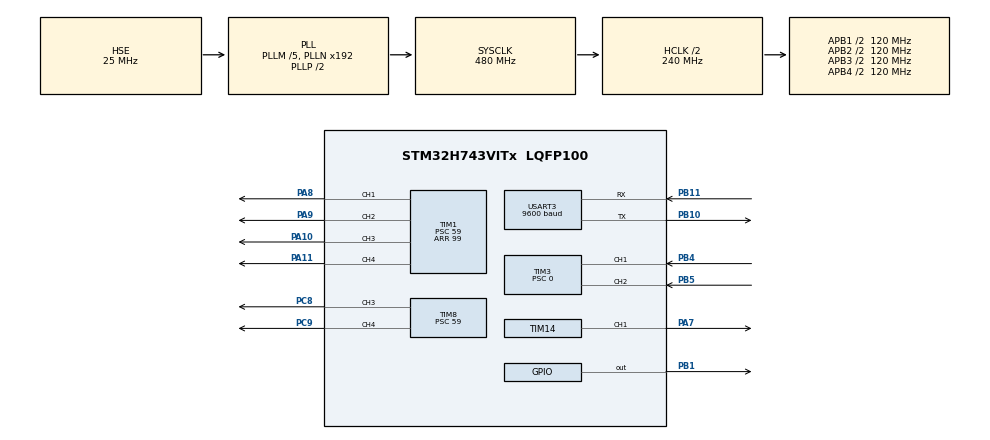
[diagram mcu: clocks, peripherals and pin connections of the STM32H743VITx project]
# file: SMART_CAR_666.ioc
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CORTEX_M7.default_mode_Activation=1
Dma.Request0=USART3_TX
Dma.USART3_TX.0.Direction=DMA_MEMORY_TO_PERIPH
Dma.USART3_TX.0.EventEnable=DISABLE
Dma.USART3_TX.0.FIFOMode=DMA_FIFOMODE_DISABLE
Dma.USART3_TX.0.Instance=DMA1_Stream0
Dma.USART3_TX.0.MemDataAlignment=DMA_MDATAALIGN_BYTE
Dma.USART3_TX.0.MemInc=DMA_MINC_ENABLE
Dma.USART3_TX.0.Mode=DMA_NORMAL
Dma.USART3_TX.0.PeriphDataAlignment=DMA_PDATAALIGN_BYTE
Dma.USART3_TX.0.PeriphInc=DMA_PINC_DISABLE
Dma.USART3_TX.0.Polarity=HAL_DMAMUX_REQ_GEN_RISING
Dma.USART3_TX.0.Priority=DMA_PRIORITY_LOW
Dma.USART3_TX.0.RequestNumber=1
Dma.USART3_TX.0.SignalID=NONE
Dma.USART3_TX.0.SyncEnable=DISABLE
Dma.USART3_TX.0.SyncPolarity=HAL_DMAMUX_SYNC_NO_EVENT
Dma.USART3_TX.0.SyncRequestNumber=1
Dma.USART3_TX.0.SyncSignalID=NONE
Mcu.Family=STM32H7
Mcu.Name=STM32H743VITx
Mcu.Package=LQFP100
NVIC.DMA1_Stream0_IRQn=true\:0\:0\:false\:false\:true\:false\:true\:true
NVIC.PriorityGroup=NVIC_PRIORITYGROUP_4
NVIC.USART3_IRQn=true\:0\:0\:false\:false\:true\:false\:true\:true
PA10.Signal=S_TIM1_CH3
PA11.Signal=S_TIM1_CH4
PA13\ (JTMS/SWDIO).Mode=Serial_Wire
PA13\ (JTMS/SWDIO).Signal=DEBUG_JTMS-SWDIO
PA14\ (JTCK/SWCLK).Mode=Serial_Wire
PA14\ (JTCK/SWCLK).Signal=DEBUG_JTCK-SWCLK
PA7.Signal=S_TIM14_CH1
PA8.Signal=S_TIM1_CH1
PA9.Signal=S_TIM1_CH2
PB1.Signal=GPIO_Output
PB10.Mode=Asynchronous
PB10.Signal=USART3_TX
PB11.Mode=Asynchronous
PB11.Signal=USART3_RX
PB4\ (NJTRST).GPIO_PuPd=GPIO_PULLUP
PB4\ (NJTRST).Signal=S_TIM3_CH1
PB5.GPIO_PuPd=GPIO_PULLUP
PB5.Signal=S_TIM3_CH2
PC8.Signal=S_TIM8_CH3
PC9.Signal=S_TIM8_CH4
PH0-OSC_IN\ (PH0).Mode=HSE-External-Oscillator
PH0-OSC_IN\ (PH0).Signal=RCC_OSC_IN
PH1-OSC_OUT\ (PH1).Mode=HSE-External-Oscillator
PH1-OSC_OUT\ (PH1).Signal=RCC_OSC_OUT
ProjectManager.HeapSize=0x200
ProjectManager.StackSize=0x400
ProjectManager.TargetToolchain=CMake
RCC.ADCFreq_Value=50390625
RCC.APB1Freq_Value=120000000
RCC.APB2Freq_Value=120000000
RCC.APB3Freq_Value=120000000
RCC.APB4Freq_Value=120000000
RCC.CortexFreq_Value=480000000
RCC.D1PPRE=RCC_APB3_DIV2
RCC.D2PPRE1=RCC_APB1_DIV2
RCC.D2PPRE2=RCC_APB2_DIV2
RCC.D3PPRE=RCC_APB4_DIV2
RCC.DIVM1=5
RCC.DIVN1=192
RCC.HCLKFreq_Value=240000000
RCC.HPRE=RCC_HCLK_DIV2
RCC.HSE_VALUE=25000000
RCC.PLLSourceVirtual=RCC_PLLSOURCE_HSE
RCC.PWR_Regulator_Voltage_Scale=PWR_REGULATOR_VOLTAGE_SCALE0
RCC.SYSCLKFreq_VALUE=480000000
RCC.SYSCLKSource=RCC_SYSCLKSOURCE_PLLCLK
RCC.USBFreq_Value=480000000
SH.S_TIM14_CH1.0=TIM14_CH1,PWM Generation1 CH1
SH.S_TIM1_CH1.0=TIM1_CH1,PWM Generation1 CH1
SH.S_TIM1_CH2.0=TIM1_CH2,PWM Generation2 CH2
SH.S_TIM1_CH3.0=TIM1_CH3,PWM Generation3 CH3
SH.S_TIM1_CH4.0=TIM1_CH4,PWM Generation4 CH4
SH.S_TIM3_CH1.0=TIM3_CH1,Encoder_Interface
SH.S_TIM3_CH2.0=TIM3_CH2,Encoder_Interface
SH.S_TIM8_CH3.0=TIM8_CH3,PWM Generation3 CH3
SH.S_TIM8_CH4.0=TIM8_CH4,PWM Generation4 CH4
TIM1.Channel-PWM\ Generation1\ CH1=TIM_CHANNEL_1
TIM1.Channel-PWM\ Generation2\ CH2=TIM_CHANNEL_2
TIM1.Channel-PWM\ Generation3\ CH3=TIM_CHANNEL_3
TIM1.Channel-PWM\ Generation4\ CH4=TIM_CHANNEL_4
TIM1.Period=99
TIM1.Prescaler=59
TIM14.Channel=TIM_CHANNEL_1
TIM14.Period=99
TIM14.Prescaler=59
TIM3.Period=65535
TIM3.Prescaler=0
TIM8.Channel-PWM\ Generation3\ CH3=TIM_CHANNEL_3
TIM8.Channel-PWM\ Generation4\ CH4=TIM_CHANNEL_4
TIM8.Period=99
TIM8.Prescaler=59
USART3.BaudRate=9600
USART3.VirtualMode-Asynchronous=VM_ASYNC
VP_MEMORYMAP_VS_MEMORYMAP.Mode=CurAppReg
VP_TIM14_VS_ClockSourceINT.Mode=Enable_Timer
VP_TIM8_VS_ClockSourceINT.Mode=Internal
board=custom

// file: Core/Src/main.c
/* USER CODE BEGIN Header */
/**
  ******************************************************************************
  * @file           : main.c
  * @brief          : Main program body
  ******************************************************************************
  * @attention
  *
  * Copyright (c) 2026 STMicroelectronics.
  * All rights reserved.
  *
  * This software is licensed under terms that can be found in the LICENSE file
  * in the root directory of this software component.
  * If no LICENSE file comes with this software, it is provided AS-IS.
  *
  ******************************************************************************
  */
/* USER CODE END Header */
#include "main.h"

/* USER CODE BEGIN Includes */
#include "Motor.h"
#include "Encoder.h"
#include "Serial.h"
/* USER CODE END Includes */

/* USER CODE BEGIN PD */
#define APP_CONTROL_PERIOD_MS       UINT32_C(20)          //主循环每隔约20 ms读取编码器并更新电机PWM
#define APP_TELEMETRY_PERIOD_MS     UINT32_C(200)         //每隔约200 ms通过串口发送一行运行数据
#define APP_START_DELAY_MS          UINT32_C(300)         //从应用开始计时后，至少等待300 ms才允许输出设定的PWM
/* 每转计数未知时传0，只报告计数/s，避免将猜测参数用于转速或闭环。 */
#define APP_ENCODER_COUNTS_PER_REV  0.0f

#define APP_FAULT_NONE              UINT32_C(0)
#define APP_FAULT_ENCODER           UINT32_C(1)
#define APP_FAULT_PWM               UINT32_C(2)
/* USER CODE END PD */

TIM_HandleTypeDef htim1;
TIM_HandleTypeDef htim3;
TIM_HandleTypeDef htim8;
TIM_HandleTypeDef htim14;

UART_HandleTypeDef huart3;
DMA_HandleTypeDef hdma_usart3_tx;

/* USER CODE BEGIN PV */
/* 前三路范围-99~99；第四路只正向，范围0~99。当前四路均给正命令。 */
// [WARNING]: 启动300ms后四路输出以下PWM；百分比不代表实测转速。
volatile int32_t g_motor1_command_percent = -20; /* TIM8：PC8 / PC9 *///后正
volatile int32_t g_motor2_command_percent = 0; /* TIM1：PA10 / PA11 *///前
volatile int32_t g_motor3_command_percent = -20; /* TIM1：PA8 / PA9 *///前
volatile int32_t g_motor4_command_percent = 20; /* TIM14：PA7，PB1固定低 *///后正
volatile uint32_t g_motor1_applied_percent = 0U;
volatile uint32_t g_motor2_applied_percent = 0U;
volatile uint32_t g_motor3_applied_percent = 0U;
volatile uint32_t g_motor4_applied_percent = 0U;
volatile float g_encoder_counts_per_second = 0.0f;
volatile int32_t g_encoder_delta_counts = 0;
volatile uint32_t g_app_fault = APP_FAULT_NONE;
volatile HAL_StatusTypeDef g_serial_last_status = HAL_OK;

static uint32_t app_start_tick;
static uint32_t last_control_tick;
static uint32_t last_telemetry_tick;
static uint8_t motor_initialized;
/* USER CODE END PV */

void SystemClock_Config(void);
static void MPU_Config(void);
static void MX_GPIO_Init(void);
static void MX_DMA_Init(void);
static void MX_TIM8_Init(void);
static void MX_USART3_UART_Init(void);
static void MX_TIM3_Init(void);
static void MX_TIM1_Init(void);
static void MX_TIM14_Init(void);

int main(void)
{

  /* MPU Configuration--------------------------------------------------------*/
  MPU_Config();

  /* MCU Configuration--------------------------------------------------------*/

  /* Reset of all peripherals, Initializes the Flash interface and the Systick. */
  HAL_Init();

  /* Configure the system clock */
  SystemClock_Config();

  /* Initialize all configured peripherals */
  MX_GPIO_Init();
  MX_DMA_Init();
  MX_TIM8_Init();
  MX_USART3_UART_Init();
  MX_TIM3_Init();
  MX_TIM1_Init();
  MX_TIM14_Init();
  /* USER CODE BEGIN 2 */
  /* CubeMX完成配置，这里只启动PWM、编码器和串口接收。 */
  if (Motor_Init() != HAL_OK)
  {
    g_app_fault = APP_FAULT_PWM;
    Error_Handler();
  }
  motor_initialized = 1U;

  if (Encoder_Init(APP_ENCODER_COUNTS_PER_REV) != HAL_OK)
  {
    g_app_fault = APP_FAULT_ENCODER;
    Error_Handler();
  }
  if (Serial_Init() != HAL_OK)
  {
    Error_Handler();
  }

  app_start_tick = HAL_GetTick();
  last_control_tick = app_start_tick;
  last_telemetry_tick = app_start_tick;
  /* 串口发送失败只记录状态，不阻止电机运行。 */
  g_serial_last_status =
      Serial_SendString("cmd1_pct,duty1_pct,cmd2_pct,duty2_pct,cmd3_pct,duty3_pct,cmd4_pct,duty4_pct,cps,delta,fault\r\n") != 0U
      ? HAL_OK : Serial_GetLastStatus();

  /* USER CODE END 2 */

  /* Infinite loop */
  while (1)
  {

    /* USER CODE BEGIN 3 */
    uint32_t now_tick;
    HAL_StatusTypeDef encoder_status;

    Serial_Proc();
    g_serial_last_status = Serial_GetLastStatus();
    now_tick = HAL_GetTick();

    if ((uint32_t)(now_tick - last_control_tick) >= APP_CONTROL_PERIOD_MS)
    {
      last_control_tick = now_tick;
      /* 20ms只用于调度，不再因单次间隔超过100ms锁定停机。 */
      encoder_status = Encoder_Update();
      if ((encoder_status != HAL_OK) && (encoder_status != HAL_BUSY))
      {
        g_app_fault = APP_FAULT_ENCODER;
        Error_Handler();
      }
      g_encoder_counts_per_second = Encoder_GetCountsPerSecond_L();
      g_encoder_delta_counts = Encoder_GetDelta_L();

      if ((uint32_t)(now_tick - app_start_tick) >= APP_START_DELAY_MS)
      {
        if (Load(g_motor1_command_percent, g_motor2_command_percent,
                 g_motor3_command_percent, g_motor4_command_percent) != HAL_OK)
        {
          g_app_fault = APP_FAULT_PWM;
          Error_Handler();
        }
      }
      g_motor1_applied_percent = Motor_GetDuty1Percent();
      g_motor2_applied_percent = Motor_GetDuty2Percent();
      g_motor3_applied_percent = Motor_GetDuty3Percent();
      g_motor4_applied_percent = Motor_GetDuty4Percent();
    }

    if ((uint32_t)(now_tick - last_telemetry_tick) >= APP_TELEMETRY_PERIOD_MS)
    {
      last_telemetry_tick = now_tick;
      g_serial_last_status =
          Serial_Printf("%ld,%lu,%ld,%lu,%ld,%lu,%ld,%lu,%ld,%ld,%lu\r\n",
                        (long)g_motor1_command_percent,
                        (unsigned long)g_motor1_applied_percent,
                        (long)g_motor2_command_percent,
                        (unsigned long)g_motor2_applied_percent,
                        (long)g_motor3_command_percent,
                        (unsigned long)g_motor3_applied_percent,
                        (long)g_motor4_command_percent,
                        (unsigned long)g_motor4_applied_percent,
                        (long)g_encoder_counts_per_second,
                        (long)g_encoder_delta_counts,
                        (unsigned long)g_app_fault) != 0U
          ? HAL_OK : Serial_GetLastStatus();
    }
  }
  /* USER CODE END 3 */
}

void SystemClock_Config(void)
{
  RCC_OscInitTypeDef RCC_OscInitStruct = {0};
  RCC_ClkInitTypeDef RCC_ClkInitStruct = {0};

  /** Supply configuration update enable
  */
  HAL_PWREx_ConfigSupply(PWR_LDO_SUPPLY);

  /** Configure the main internal regulator output voltage
  */
  __HAL_PWR_VOLTAGESCALING_CONFIG(PWR_REGULATOR_VOLTAGE_SCALE0);

  while(!__HAL_PWR_GET_FLAG(PWR_FLAG_VOSRDY)) {}

  /** Initializes the RCC Oscillators according to the specified parameters
  * in the RCC_OscInitTypeDef structure.
  */
  RCC_OscInitStruct.OscillatorType = RCC_OSCILLATORTYPE_HSE;
  RCC_OscInitStruct.HSEState = RCC_HSE_ON;
  RCC_OscInitStruct.PLL.PLLState = RCC_PLL_ON;
  RCC_OscInitStruct.PLL.PLLSource = RCC_PLLSOURCE_HSE;
  RCC_OscInitStruct.PLL.PLLM = 5;
  RCC_OscInitStruct.PLL.PLLN = 192;
  RCC_OscInitStruct.PLL.PLLP = 2;
  RCC_OscInitStruct.PLL.PLLQ = 2;
  RCC_OscInitStruct.PLL.PLLR = 2;
  RCC_OscInitStruct.PLL.PLLRGE = RCC_PLL1VCIRANGE_2;
  RCC_OscInitStruct.PLL.PLLVCOSEL = RCC_PLL1VCOWIDE;
  RCC_OscInitStruct.PLL.PLLFRACN = 0;
  if (HAL_RCC_OscConfig(&RCC_OscInitStruct) != HAL_OK)
  {
    Error_Handler();
  }

  /** Initializes the CPU, AHB and APB buses clocks
  */
  RCC_ClkInitStruct.ClockType = RCC_CLOCKTYPE_HCLK|RCC_CLOCKTYPE_SYSCLK
                              |RCC_CLOCKTYPE_PCLK1|RCC_CLOCKTYPE_PCLK2
                              |RCC_CLOCKTYPE_D3PCLK1|RCC_CLOCKTYPE_D1PCLK1;
  RCC_ClkInitStruct.SYSCLKSource = RCC_SYSCLKSOURCE_PLLCLK;
  RCC_ClkInitStruct.SYSCLKDivider = RCC_SYSCLK_DIV1;
  RCC_ClkInitStruct.AHBCLKDivider = RCC_HCLK_DIV2;
  RCC_ClkInitStruct.APB3CLKDivider = RCC_APB3_DIV2;
  RCC_ClkInitStruct.APB1CLKDivider = RCC_APB1_DIV2;
  RCC_ClkInitStruct.APB2CLKDivider = RCC_APB2_DIV2;
  RCC_ClkInitStruct.APB4CLKDivider = RCC_APB4_DIV2;

  if (HAL_RCC_ClockConfig(&RCC_ClkInitStruct, FLASH_LATENCY_4) != HAL_OK)
  {
    Error_Handler();
  }
}

static void MX_TIM1_Init(void)
{

  TIM_MasterConfigTypeDef sMasterConfig = {0};
  TIM_OC_InitTypeDef sConfigOC = {0};
  TIM_BreakDeadTimeConfigTypeDef sBreakDeadTimeConfig = {0};

  htim1.Instance = TIM1;
  htim1.Init.Prescaler = 59;
  htim1.Init.CounterMode = TIM_COUNTERMODE_UP;
  htim1.Init.Period = 99;
  htim1.Init.ClockDivision = TIM_CLOCKDIVISION_DIV1;
  htim1.Init.RepetitionCounter = 0;
  htim1.Init.AutoReloadPreload = TIM_AUTORELOAD_PRELOAD_DISABLE;
  if (HAL_TIM_PWM_Init(&htim1) != HAL_OK)
  {
    Error_Handler();
  }
  sMasterConfig.MasterOutputTrigger = TIM_TRGO_RESET;
  sMasterConfig.MasterOutputTrigger2 = TIM_TRGO2_RESET;
  sMasterConfig.MasterSlaveMode = TIM_MASTERSLAVEMODE_DISABLE;
  if (HAL_TIMEx_MasterConfigSynchronization(&htim1, &sMasterConfig) != HAL_OK)
  {
    Error_Handler();
  }
  sConfigOC.OCMode = TIM_OCMODE_PWM1;
  sConfigOC.Pulse = 0;
  sConfigOC.OCPolarity = TIM_OCPOLARITY_HIGH;
  sConfigOC.OCNPolarity = TIM_OCNPOLARITY_HIGH;
  sConfigOC.OCFastMode = TIM_OCFAST_DISABLE;
  sConfigOC.OCIdleState = TIM_OCIDLESTATE_RESET;
  sConfigOC.OCNIdleState = TIM_OCNIDLESTATE_RESET;
  if (HAL_TIM_PWM_ConfigChannel(&htim1, &sConfigOC, TIM_CHANNEL_1) != HAL_OK)
  {
    Error_Handler();
  }
  if (HAL_TIM_PWM_ConfigChannel(&htim1, &sConfigOC, TIM_CHANNEL_2) != HAL_OK)
  {
    Error_Handler();
  }
  if (HAL_TIM_PWM_ConfigChannel(&htim1, &sConfigOC, TIM_CHANNEL_3) != HAL_OK)
  {
    Error_Handler();
  }
  if (HAL_TIM_PWM_ConfigChannel(&htim1, &sConfigOC, TIM_CHANNEL_4) != HAL_OK)
  {
    Error_Handler();
  }
  sBreakDeadTimeConfig.OffStateRunMode = TIM_OSSR_DISABLE;
  sBreakDeadTimeConfig.OffStateIDLEMode = TIM_OSSI_DISABLE;
  sBreakDeadTimeConfig.LockLevel = TIM_LOCKLEVEL_OFF;
  sBreakDeadTimeConfig.DeadTime = 0;
  sBreakDeadTimeConfig.BreakState = TIM_BREAK_DISABLE;
  sBreakDeadTimeConfig.BreakPolarity = TIM_BREAKPOLARITY_HIGH;
  sBreakDeadTimeConfig.BreakFilter = 0;
  sBreakDeadTimeConfig.Break2State = TIM_BREAK2_DISABLE;
  sBreakDeadTimeConfig.Break2Polarity = TIM_BREAK2POLARITY_HIGH;
  sBreakDeadTimeConfig.Break2Filter = 0;
  sBreakDeadTimeConfig.AutomaticOutput = TIM_AUTOMATICOUTPUT_DISABLE;
  if (HAL_TIMEx_ConfigBreakDeadTime(&htim1, &sBreakDeadTimeConfig) != HAL_OK)
  {
    Error_Handler();
  }
  HAL_TIM_MspPostInit(&htim1);

}

static void MX_TIM3_Init(void)
{

  TIM_Encoder_InitTypeDef sConfig = {0};
  TIM_MasterConfigTypeDef sMasterConfig = {0};

  htim3.Instance = TIM3;
  htim3.Init.Prescaler = 0;
  htim3.Init.CounterMode = TIM_COUNTERMODE_UP;
  htim3.Init.Period = 65535;
  htim3.Init.ClockDivision = TIM_CLOCKDIVISION_DIV1;
  htim3.Init.AutoReloadPreload = TIM_AUTORELOAD_PRELOAD_DISABLE;
  sConfig.EncoderMode = TIM_ENCODERMODE_TI1;
  sConfig.IC1Polarity = TIM_ICPOLARITY_RISING;
  sConfig.IC1Selection = TIM_ICSELECTION_DIRECTTI;
  sConfig.IC1Prescaler = TIM_ICPSC_DIV1;
  sConfig.IC1Filter = 0;
  sConfig.IC2Polarity = TIM_ICPOLARITY_RISING;
  sConfig.IC2Selection = TIM_ICSELECTION_DIRECTTI;
  sConfig.IC2Prescaler = TIM_ICPSC_DIV1;
  sConfig.IC2Filter = 0;
  if (HAL_TIM_Encoder_Init(&htim3, &sConfig) != HAL_OK)
  {
    Error_Handler();
  }
  sMasterConfig.MasterOutputTrigger = TIM_TRGO_RESET;
  sMasterConfig.MasterSlaveMode = TIM_MASTERSLAVEMODE_DISABLE;
  if (HAL_TIMEx_MasterConfigSynchronization(&htim3, &sMasterConfig) != HAL_OK)
  {
    Error_Handler();
  }

}

static void MX_TIM8_Init(void)
{

  TIM_ClockConfigTypeDef sClockSourceConfig = {0};
  TIM_MasterConfigTypeDef sMasterConfig = {0};
  TIM_OC_InitTypeDef sConfigOC = {0};
  TIM_BreakDeadTimeConfigTypeDef sBreakDeadTimeConfig = {0};

  htim8.Instance = TIM8;
  htim8.Init.Prescaler = 59;
  htim8.Init.CounterMode = TIM_COUNTERMODE_UP;
  htim8.Init.Period = 99;
  htim8.Init.ClockDivision = TIM_CLOCKDIVISION_DIV1;
  htim8.Init.RepetitionCounter = 0;
  htim8.Init.AutoReloadPreload = TIM_AUTORELOAD_PRELOAD_DISABLE;
  if (HAL_TIM_Base_Init(&htim8) != HAL_OK)
  {
    Error_Handler();
  }
  sClockSourceConfig.ClockSource = TIM_CLOCKSOURCE_INTERNAL;
  if (HAL_TIM_ConfigClockSource(&htim8, &sClockSourceConfig) != HAL_OK)
  {
    Error_Handler();
  }
  if (HAL_TIM_PWM_Init(&htim8) != HAL_OK)
  {
    Error_Handler();
  }
  sMasterConfig.MasterOutputTrigger = TIM_TRGO_RESET;
  sMasterConfig.MasterOutputTrigger2 = TIM_TRGO2_RESET;
  sMasterConfig.MasterSlaveMode = TIM_MASTERSLAVEMODE_DISABLE;
  if (HAL_TIMEx_MasterConfigSynchronization(&htim8, &sMasterConfig) != HAL_OK)
  {
    Error_Handler();
  }
  sConfigOC.OCMode = TIM_OCMODE_PWM1;
  sConfigOC.Pulse = 0;
  sConfigOC.OCPolarity = TIM_OCPOLARITY_HIGH;
  sConfigOC.OCNPolarity = TIM_OCNPOLARITY_HIGH;
  sConfigOC.OCFastMode = TIM_OCFAST_DISABLE;
  sConfigOC.OCIdleState = TIM_OCIDLESTATE_RESET;
  sConfigOC.OCNIdleState = TIM_OCNIDLESTATE_RESET;
  if (HAL_TIM_PWM_ConfigChannel(&htim8, &sConfigOC, TIM_CHANNEL_3) != HAL_OK)
  {
    Error_Handler();
  }
  if (HAL_TIM_PWM_ConfigChannel(&htim8, &sConfigOC, TIM_CHANNEL_4) != HAL_OK)
  {
    Error_Handler();
  }
  sBreakDeadTimeConfig.OffStateRunMode = TIM_OSSR_DISABLE;
  sBreakDeadTimeConfig.OffStateIDLEMode = TIM_OSSI_DISABLE;
  sBreakDeadTimeConfig.LockLevel = TIM_LOCKLEVEL_OFF;
  sBreakDeadTimeConfig.DeadTime = 0;
  sBreakDeadTimeConfig.BreakState = TIM_BREAK_DISABLE;
  sBreakDeadTimeConfig.BreakPolarity = TIM_BREAKPOLARITY_HIGH;
  sBreakDeadTimeConfig.BreakFilter = 0;
  sBreakDeadTimeConfig.Break2State = TIM_BREAK2_DISABLE;
  sBreakDeadTimeConfig.Break2Polarity = TIM_BREAK2POLARITY_HIGH;
  sBreakDeadTimeConfig.Break2Filter = 0;
  sBreakDeadTimeConfig.AutomaticOutput = TIM_AUTOMATICOUTPUT_DISABLE;
  if (HAL_TIMEx_ConfigBreakDeadTime(&htim8, &sBreakDeadTimeConfig) != HAL_OK)
  {
    Error_Handler();
  }
  HAL_TIM_MspPostInit(&htim8);

}

static void MX_TIM14_Init(void)
{

  TIM_OC_InitTypeDef sConfigOC = {0};

  htim14.Instance = TIM14;
  htim14.Init.Prescaler = 59;
  htim14.Init.CounterMode = TIM_COUNTERMODE_UP;
  htim14.Init.Period = 99;
  htim14.Init.ClockDivision = TIM_CLOCKDIVISION_DIV1;
  htim14.Init.AutoReloadPreload = TIM_AUTORELOAD_PRELOAD_DISABLE;
  if (HAL_TIM_Base_Init(&htim14) != HAL_OK)
  {
    Error_Handler();
  }
  if (HAL_TIM_PWM_Init(&htim14) != HAL_OK)
  {
    Error_Handler();
  }
  sConfigOC.OCMode = TIM_OCMODE_PWM1;
  sConfigOC.Pulse = 0;
  sConfigOC.OCPolarity = TIM_OCPOLARITY_HIGH;
  sConfigOC.OCFastMode = TIM_OCFAST_DISABLE;
  if (HAL_TIM_PWM_ConfigChannel(&htim14, &sConfigOC, TIM_CHANNEL_1) != HAL_OK)
  {
    Error_Handler();
  }
  HAL_TIM_MspPostInit(&htim14);

}

static void MX_USART3_UART_Init(void)
{

  huart3.Instance = USART3;
  huart3.Init.BaudRate = 9600;
  huart3.Init.WordLength = UART_WORDLENGTH_8B;
  huart3.Init.StopBits = UART_STOPBITS_1;
  huart3.Init.Parity = UART_PARITY_NONE;
  huart3.Init.Mode = UART_MODE_TX_RX;
  huart3.Init.HwFlowCtl = UART_HWCONTROL_NONE;
  huart3.Init.OverSampling = UART_OVERSAMPLING_16;
  huart3.Init.OneBitSampling = UART_ONE_BIT_SAMPLE_DISABLE;
  huart3.Init.ClockPrescaler = UART_PRESCALER_DIV1;
  huart3.AdvancedInit.AdvFeatureInit = UART_ADVFEATURE_NO_INIT;
  if (HAL_UART_Init(&huart3) != HAL_OK)
  {
    Error_Handler();
  }
  if (HAL_UARTEx_SetTxFifoThreshold(&huart3, UART_TXFIFO_THRESHOLD_1_8) != HAL_OK)
  {
    Error_Handler();
  }
  if (HAL_UARTEx_SetRxFifoThreshold(&huart3, UART_RXFIFO_THRESHOLD_1_8) != HAL_OK)
  {
    Error_Handler();
  }
  if (HAL_UARTEx_DisableFifoMode(&huart3) != HAL_OK)
  {
    Error_Handler();
  }

}

static void MX_DMA_Init(void)
{

  /* DMA controller clock enable */
  __HAL_RCC_DMA1_CLK_ENABLE();

  /* DMA interrupt init */
  /* DMA1_Stream0_IRQn interrupt configuration */
  HAL_NVIC_SetPriority(DMA1_Stream0_IRQn, 0, 0);
  HAL_NVIC_EnableIRQ(DMA1_Stream0_IRQn);

}

static void MX_GPIO_Init(void)
{
  GPIO_InitTypeDef GPIO_InitStruct = {0};

  /* GPIO Ports Clock Enable */
  __HAL_RCC_GPIOH_CLK_ENABLE();
  __HAL_RCC_GPIOA_CLK_ENABLE();
  __HAL_RCC_GPIOB_CLK_ENABLE();
  __HAL_RCC_GPIOC_CLK_ENABLE();

  /*Configure GPIO pin Output Level */
  HAL_GPIO_WritePin(GPIOB, GPIO_PIN_1, GPIO_PIN_RESET);

  /*Configure GPIO pin : PB1 */
  GPIO_InitStruct.Pin = GPIO_PIN_1;
  GPIO_InitStruct.Mode = GPIO_MODE_OUTPUT_PP;
  GPIO_InitStruct.Pull = GPIO_NOPULL;
  GPIO_InitStruct.Speed = GPIO_SPEED_FREQ_LOW;
  HAL_GPIO_Init(GPIOB, &GPIO_InitStruct);

}

 /* MPU Configuration */

void MPU_Config(void)
{
  MPU_Region_InitTypeDef MPU_InitStruct = {0};

  /* Disables the MPU */
  HAL_MPU_Disable();

  /** Initializes and configures the Region and the memory to be protected
  */
  MPU_InitStruct.Enable = MPU_REGION_ENABLE;
  MPU_InitStruct.Number = MPU_REGION_NUMBER0;
  MPU_InitStruct.BaseAddress = 0x0;
  MPU_InitStruct.Size = MPU_REGION_SIZE_4GB;
  MPU_InitStruct.SubRegionDisable = 0x87;
  MPU_InitStruct.TypeExtField = MPU_TEX_LEVEL0;
  MPU_InitStruct.AccessPermission = MPU_REGION_NO_ACCESS;
  MPU_InitStruct.DisableExec = MPU_INSTRUCTION_ACCESS_DISABLE;
  MPU_InitStruct.IsShareable = MPU_ACCESS_SHAREABLE;
  MPU_InitStruct.IsCacheable = MPU_ACCESS_NOT_CACHEABLE;
  MPU_InitStruct.IsBufferable = MPU_ACCESS_NOT_BUFFERABLE;

  HAL_MPU_ConfigRegion(&MPU_InitStruct);
  /* Enables the MPU */
  HAL_MPU_Enable(MPU_PRIVILEGED_DEFAULT);

}

void Error_Handler(void)
{
  /* USER CODE BEGIN Error_Handler_Debug */
  /* 只在PWM已成功启动后访问输出；早期时钟/电源错误不触碰未就绪外设。 */
  if (motor_initialized != 0U)
  {
    Motor_Stop();
    g_motor1_applied_percent = 0U;
    g_motor2_applied_percent = 0U;
    g_motor3_applied_percent = 0U;
    g_motor4_applied_percent = 0U;
  }
  __disable_irq();
  while (1)
  {
  }
  /* USER CODE END Error_Handler_Debug */
}
